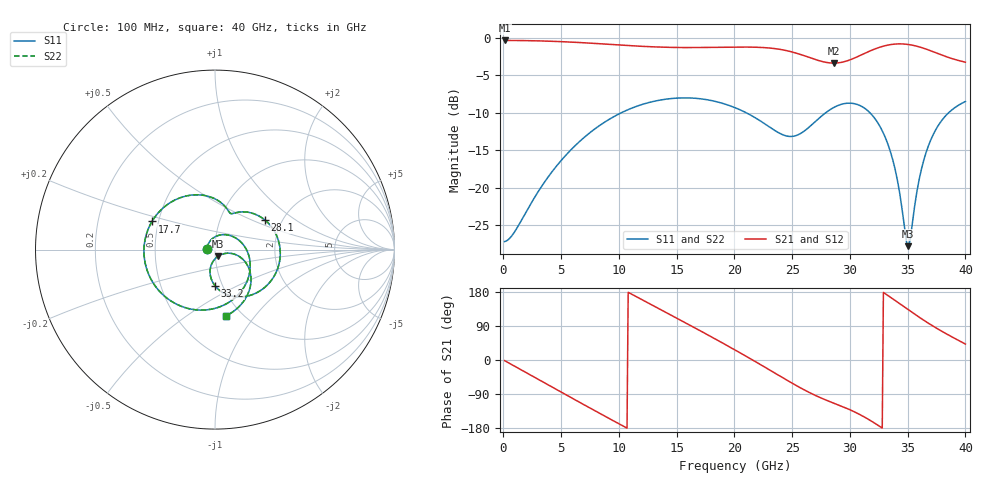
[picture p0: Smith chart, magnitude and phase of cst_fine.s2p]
! P_ts6_finger_far: gold finger 0.7 × 2.1 mm between GND fingers (gap 0.3 mm), L2 cut back (next plane L5)
! stackup: ThunderScope Rev5.3 6-layer (FR408HR / FR-4, from the board file)
! ports: 1, 2
! CST Studio Suite 2025.5 Release from 2025-05-30, time domain (FIT, hexahedral, PBA), 325006 mesh cells, 49 s
! mesh: {'lpw': 30.0, 'lpb': 30.0, 'minstep': 0.0, 'ratio': 20}; ports: port 1 (face); port 2 (face)
! interpolated from CST's 1001 samples to the case grid
# Hz S RI R 50
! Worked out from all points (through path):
!   400 points, 100 MHz to 40 GHz, reference 50 ohm
!   highest |S21| = -0.39 dB at 100 MHz (marker M1); lowest = -3.4 dB at 28.6 GHz (marker M2)
!   group delay of S21, straight-line fit = 46.5 ps
!   lowest |S11| = -27.8 dB at 35 GHz (marker M3), VSWR 1.09, Z = 51.7 - j3.8 ohm
!   |S11| at or under -10 dB: start of sweep to 10.23 GHz; 21 GHz to 27.92 GHz (6.925 GHz wide, 28.3 % of centre); 31.72 GHz to 38.56 GHz (6.838 GHz wide, 19.5 % of centre)
!   |S22| runs from -27.8 to -8.0 dB; largest |S21 - S12| = 4.5e-07
!   S11 on the Smith chart (normalised r, x): 100 MHz: 0.92, +0.01; 17.7 GHz: 0.46, +0.17; 28.1 GHz: 1.64, +0.60; 33.2 GHz: 0.92, -0.39; 40 GHz: 0.84, -0.73
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1e8  -0.0436 0.0041  0.9558 -0.0283  0.9558 -0.0283  -0.0436 0.0041
1.8e9  -0.00955 0.0648  0.8216 -0.4853  0.8216 -0.4853  -0.00955 0.0648
3.7e9  0.0805 0.0793  0.4325 -0.8425  0.4325 -0.8425  0.0805 0.0793
5.2e9  0.1552 0.0302  0.0293 -0.9371  0.0293 -0.9371  0.1552 0.0302
6.8e9  0.1959 -0.0754  -0.3928 -0.8369  -0.3928 -0.8369  0.1959 -0.0754
8.5e9  0.161 -0.2105  -0.7299 -0.5394  -0.7299 -0.5394  0.161 -0.2105
1.01e10  0.0507 -0.3085  -0.8771 -0.1555  -0.8771 -0.1555  0.0507 -0.3085
1.34e10  -0.2721 -0.267  -0.6255 0.5969  -0.6255 0.5969  -0.2721 -0.267
1.56e10  -0.3913 -0.0636  -0.1589 0.8427  -0.1589 0.8427  -0.3913 -0.0636
1.77e10  -0.3511 0.1567  0.3471 0.7867  0.3471 0.7867  -0.3511 0.1567
2.01e10  -0.1635 0.298  0.7794 0.3739  0.7794 0.3739  -0.1635 0.298
2.29e10  0.0422 0.2543  0.7818 -0.3416  0.7818 -0.3416  0.0422 0.2543
2.48e10  0.0864 0.2016  0.432 -0.6836  0.432 -0.6836  0.0864 0.2016
2.67e10  0.157 0.2104  0.0128 -0.7268  0.0128 -0.7268  0.157 0.2104
2.81e10  0.2789 0.1642  -0.2083 -0.6473  -0.2083 -0.6473  0.2789 0.1642
2.86e10  0.321 0.118  -0.2732 -0.618  -0.2732 -0.618  0.321 0.118
3.12e10  0.2541 -0.2277  -0.6718 -0.395  -0.6718 -0.395  0.2541 -0.2277
3.32e10  0.00153 -0.2034  -0.8795 0.1217  -0.8795 0.1217  0.00153 -0.2034
3.34e10  -0.0116 -0.1839  -0.8744 0.1869  -0.8744 0.1869  -0.0116 -0.1839
3.5e10  0.0178 -0.0367  -0.6226 0.65  -0.6226 0.65  0.0178 -0.0367
3.69e10  0.1798 -0.0857  -0.0728 0.8182  -0.0728 0.8182  0.1798 -0.0857
4e10  0.0598 -0.3703  0.5087 0.4595  0.5087 0.4595  0.0598 -0.3703
